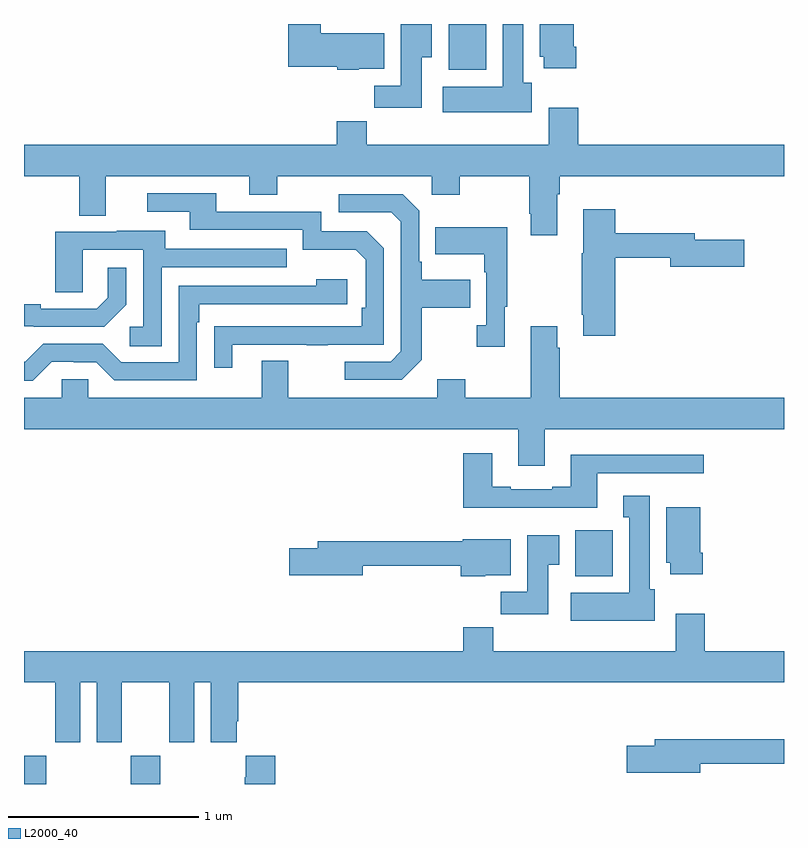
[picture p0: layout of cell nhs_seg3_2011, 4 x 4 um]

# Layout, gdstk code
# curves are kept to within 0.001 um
import gdstk
lib = gdstk.Library(unit=1e-6, precision=1e-09)
def R(c, l, rs):  # rectangles x0, y0, x1, y1
    for r in rs: c.add(gdstk.rectangle(r[:2], r[2:], *l))
def P(c, l, *ps):  # polygons
    for p in ps: c.add(gdstk.Polygon(p, *l))
L2000_40 = (2000, 40)

nhs_seg3_2011 = lib.new_cell('nhs_seg3_2011')
R(nhs_seg3_2011, L2000_40, [(215,680.4,215.118,680.548), (215.563,680.4,215.718,680.548), (217.901,681.494,218.098,681.736), (217.235,684.158,217.432,684.4)])
P(nhs_seg3_2011, L2000_40, [(216.762,684.164),(216.895,684.164),(216.895,684.352),(216.562,684.352),(216.562,684.4),(216.392,684.4),(216.392,684.176),(216.648,684.176),(216.648,684.158),(216.762,684.158)],
  [(217.093,684.224),(217.147,684.224),(217.147,684.4),(216.983,684.4),(216.983,684.076),(216.844,684.076),(216.844,683.958),(217.093,683.958)],
  [(217.907,684.28),(217.894,684.28),(217.894,684.4),(217.715,684.4),(217.715,684.228),(217.736,684.228),(217.736,684.168),(217.907,684.168)],
  [(217.672,684.09),(217.627,684.09),(217.627,684.4),(217.52,684.4),(217.52,684.07),(217.203,684.07),(217.203,683.936),(217.672,683.936)],
  [(217.807,683.504),(217.82,683.504),(217.82,683.6),(219,683.6),(219,683.764),(217.916,683.764),(217.916,683.959),(217.763,683.959),(217.763,683.764),(216.803,683.764),(216.803,683.888),(216.647,683.888),(216.647,683.764),(215,683.764),(215,683.6),(215.291,683.6),(215.291,683.392),(215.431,683.392),(215.431,683.6),(216.185,683.6),(216.185,683.501),(216.333,683.501),(216.333,683.6),(217.146,683.6),(217.146,683.501),(217.293,683.501),(217.293,683.6),(217.66,683.6),(217.66,683.401),(217.667,683.401),(217.667,683.289),(217.807,683.289)],
  [(216.097,682.713),(216.487,682.713),(216.487,682.708),(216.599,682.708),(216.599,682.713),(216.894,682.713),(216.894,683.22),(216.804,683.31),(216.564,683.31),(216.564,683.412),(216.013,683.412),(216.013,683.508),(215.649,683.508),(215.649,683.412),(215.873,683.412),(215.873,683.316),(216.468,683.316),(216.468,683.213),(216.745,683.213),(216.798,683.16),(216.798,682.906),(216.778,682.906),(216.778,682.809),(216.001,682.808),(216.001,682.59),(216.097,682.59)],
  [(217.093,682.633),(217.093,682.906),(217.349,682.906),(217.349,683.053),(217.093,683.053),(217.093,683.149),(217.08,683.149),(217.08,683.418),(216.993,683.505),(216.657,683.505),(216.657,683.409),(216.933,683.409),(216.984,683.358),(216.984,682.677),(216.93,682.623),(216.687,682.623),(216.687,682.527),(216.987,682.527)],
  [(218.111,683.17),(218.402,683.17),(218.402,683.123),(218.791,683.123),(218.791,683.265),(218.53,683.265),(218.53,683.299),(218.111,683.299),(218.111,683.425),(217.943,683.425),(217.943,683.193),(217.936,683.193),(217.936,682.87),(217.943,682.87),(217.943,682.758),(218.111,682.758)],
  [(217.531,682.913),(217.543,682.913),(217.543,683.329),(217.165,683.329),(217.165,683.189),(217.422,683.189),(217.422,683.093),(217.434,683.093),(217.434,682.814),(217.383,682.814),(217.383,682.701),(217.531,682.701)],
  [(215.724,683.121),(216.383,683.121),(216.383,683.217),(215.743,683.217),(215.743,683.311),(215.489,683.311),(215.489,683.307),(215.165,683.307),(215.165,682.987),(215.31,682.987),(215.31,683.211),(215.628,683.211),(215.628,682.806),(215.556,682.806),(215.556,682.705),(215.724,682.705)],
  [(215.538,682.922),(215.538,683.116),(215.441,683.116),(215.441,682.959),(215.384,682.902),(215.089,682.902),(215.089,682.925),(215,682.925),(215,682.809),(215.05,682.809),(215.05,682.806),(215.422,682.806)],
  [(215.145,682.623),(215.261,682.623),(215.261,682.62),(215.379,682.62),(215.475,682.524),(215.91,682.524),(215.91,682.829),(215.923,682.829),(215.923,682.926),(216.7,682.926),(216.7,683.056),(216.539,683.056),(216.539,683.022),(215.814,683.022),(215.814,682.62),(215.511,682.62),(215.415,682.716),(215.1,682.716),(215.007,682.623),(215,682.623),(215,682.523),(215.045,682.523)],
  [(217.741,682.268),(219,682.268),(219,682.432),(217.82,682.432),(217.82,682.697),(217.807,682.697),(217.807,682.81),(217.667,682.81),(217.667,682.432),(217.323,682.432),(217.323,682.531),(217.175,682.531),(217.175,682.432),(216.391,682.432),(216.391,682.627),(216.251,682.627),(216.251,682.432),(215.337,682.432),(215.337,682.53),(215.199,682.53),(215.199,682.432),(215,682.432),(215,682.268),(217.601,682.268),(217.601,682.074),(217.741,682.074)],
  [(218.017,682.035),(218.578,682.035),(218.578,682.132),(217.877,682.132),(217.877,681.964),(217.781,681.964),(217.781,681.951),(217.561,681.951),(217.561,681.964),(217.465,681.964),(217.465,682.141),(217.313,682.141),(217.313,681.854),(218.017,681.854)],
  [(218.32,681.426),(218.293,681.426),(218.293,681.916),(218.153,681.916),(218.153,681.803),(218.186,681.803),(218.186,681.406),(217.877,681.406),(217.877,681.26),(218.32,681.26)],
  [(218.573,681.616),(218.56,681.616),(218.56,681.856),(218.381,681.856),(218.381,681.564),(218.402,681.564),(218.402,681.504),(218.573,681.504)],
  [(217.759,681.553),(217.816,681.553),(217.816,681.709),(217.649,681.709),(217.649,681.412),(217.51,681.412),(217.51,681.294),(217.759,681.294)],
  [(217.428,681.5),(217.561,681.5),(217.561,681.688),(217.31,681.688),(217.31,681.677),(216.545,681.677),(216.545,681.641),(216.396,681.641),(216.396,681.499),(216.784,681.499),(216.784,681.549),(217.298,681.549),(217.298,681.494),(217.428,681.494)],
  [(215.296,680.936),(215.384,680.936),(215.384,680.619),(215.515,680.619),(215.515,680.936),(215.765,680.936),(215.765,680.619),(215.896,680.619),(215.896,680.936),(215.984,680.936),(215.984,680.619),(216.121,680.619),(216.121,680.731),(216.128,680.731),(216.128,680.936),(219,680.936),(219,681.1),(218.582,681.1),(218.582,681.295),(218.429,681.295),(218.429,681.1),(217.469,681.1),(217.469,681.224),(217.313,681.224),(217.313,681.1),(215,681.1),(215,680.936),(215.165,680.936),(215.165,680.619),(215.296,680.619)],
  [(218.56,680.506),(219,680.506),(219,680.635),(218.321,680.635),(218.321,680.601),(218.172,680.601),(218.172,680.459),(218.56,680.459)],
  [(216.323,680.548),(216.167,680.548),(216.167,680.435),(216.163,680.435),(216.163,680.4),(216.323,680.4)])

lib.write_gds('nhs_seg3_2011.gds')
